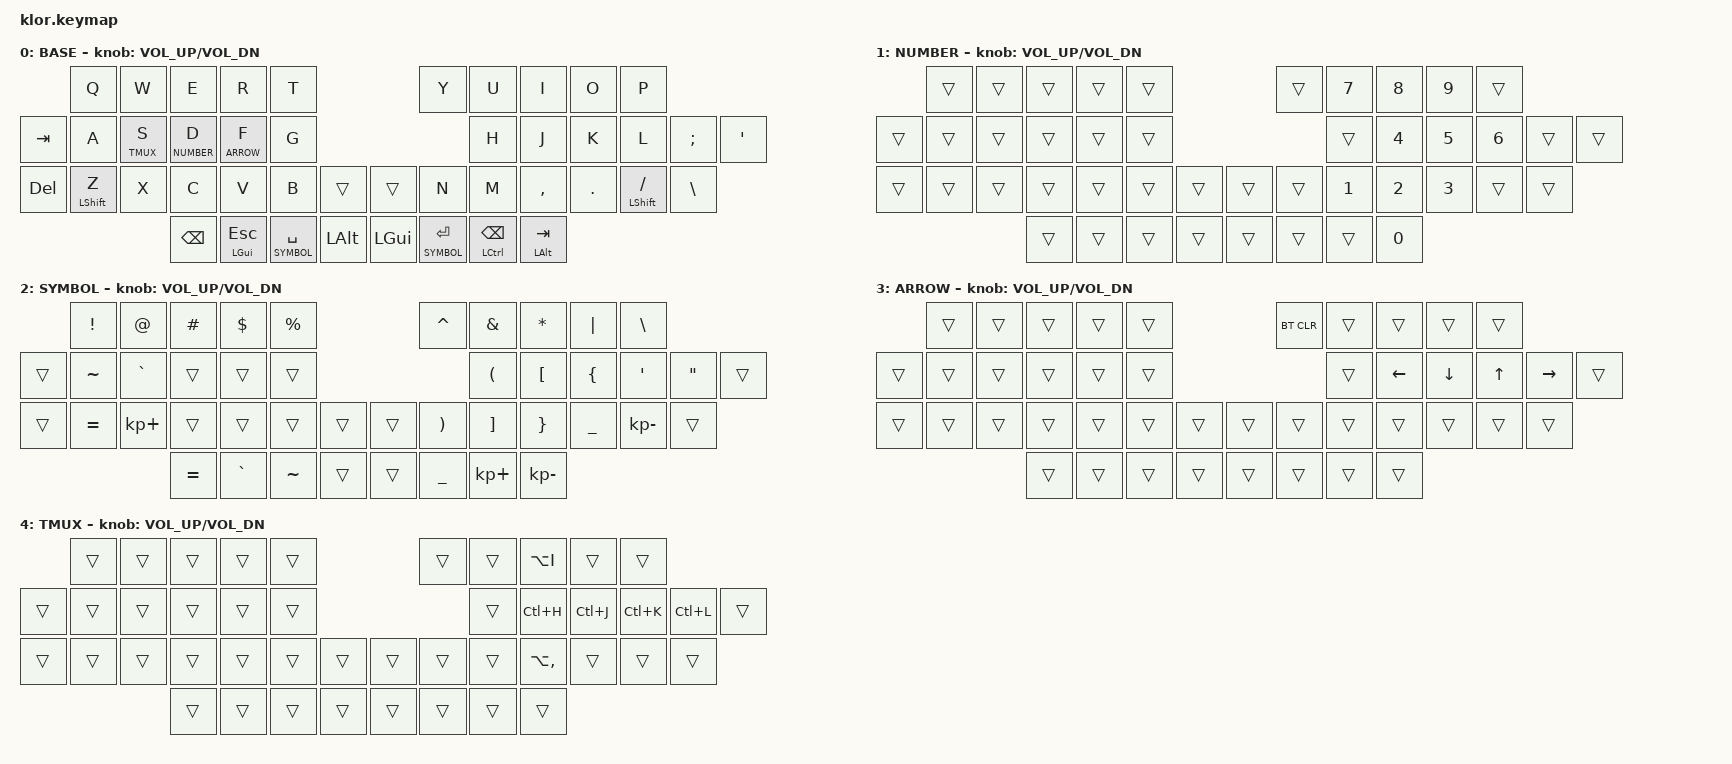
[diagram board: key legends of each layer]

//                               █         █    █            ▄▄▄▀▀▀▀▀▀▄▄▄        █▀▀▀▀▀▀▀▀▀▀█
//                               █        █     █          ▄▀            ▀▄      █          █
//                               █       █      █        ▄▀                ▀▄    █          █
//                               █      █       █        █                  █    █          █
//                               █     █        █       █                    █   █          █
//                               █    █         █       █                    █   █▄▄▄▄▄▄▄▄▄▄█
//                               █   █ █        █       █                    █   █      █
//                               █  █   █       █        █                  █    █       █
//                               █ █     █      █        ▀▄                ▄▀    █        █
//                               ██       █     █          ▀▄            ▄▀      █         █
//                               █         █    █▄▄▄▄▄▄▄▄    ▀▀▀▄▄▄▄▄▄▀▀▀        █          █
//
// ▄▄▄▄▄▄▄▄▄▄▄▄▄▄▄▄▄▄▄▄▄▄▄▄▄▄▄▄▄▄▄▄▄▄▄▄▄▄▄▄▄▄▄▄▄▄▄▄▄▄▄▄▄▄▄▄▄▄▄▄▄▄▄▄▄▄▄▄▄▄▄▄▄▄▄▄▄▄▄▄▄▄▄▄▄▄▄▄▄▄▄▄▄▄▄▄▄▄▄▄▄▄▄▄▄▄▄▄▄▄▄▄▄▄▄▄▄▄▄▄▄▄▄▄▄
       
#include <behaviors.dtsi>
#include <dt-bindings/zmk/keys.h>
#include <dt-bindings/zmk/bt.h>
#include <dt-bindings/zmk/outputs.h>
#include <dt-bindings/zmk/ext_power.h>
#include <dt-bindings/zmk/rgb.h>

#define BASE 0
#define NUMBER 1
#define SYMBOL 2
#define ARROW 3
#define TMUX 4


/ {

    combos {
        compatible = "zmk,combos";
        combo_del {
            timeout-ms = <50>;
            key-positions = <15 16>;
            bindings = <&kp BSPC>;
        };
        combo_tab {
            timeout-ms = <50>;
            key-positions = <16 17>;
            bindings = <&kp TAB>;
        };
        
         combo_alt {
            timeout-ms = <50>;
            key-positions = <25 26>;
            bindings = <&kp LALT>;
        };
        
    };

        keymap {
                compatible = "zmk,keymap";
// ▄▄▄▄▄▄▄▄▄▄▄▄▄▄▄▄▄▄▄▄▄▄▄▄▄▄▄▄▄▄▄▄▄▄▄▄▄▄▄▄▄▄▄▄▄▄▄▄▄▄▄▄▄▄▄▄▄▄▄▄▄▄▄▄▄▄▄▄▄▄▄▄▄▄▄▄▄▄▄▄▄▄▄▄▄▄▄▄▄▄▄▄▄▄▄▄▄▄▄▄▄▄▄▄▄▄▄▄▄▄▄▄▄▄▄▄▄▄▄▄▄▄▄▄▄▄▄▄▄▄▄▄▄▄▄▄▄▄▄▄▄▄


                base_layer {
// ┌───────────────────────────────────────────────────────────┐
label= "BASE"                                                  ;
// └───────────────────────────────────────────────────────────┘
/*           ┌─────────┬─────────┬─────────┬─────────┬─────────┐                    ┌─────────┬─────────┬─────────┬─────────┬─────────┐
             │    Q    │    W    │    F    │    P    │    G    │                    │    J    │    L    │    U    │    Y    │    ;    │   
   ┌─────────┼─────────┼─────────┼─────────┼─────────┼─────────┤                    ├─────────┼─────────┼─────────┼─────────┼─────────┼─────────┐
   │   TAB   │    A    │    R    │    S    │    T    │    D    │                    │    H    │    N    │    E    │    I    │    O    │    "    │
   ├─────────┼─────────┼─────────┼─────────┼─────────┼─────────┤╭────────╮╭────────╮├─────────┼─────────┼─────────┼─────────┼─────────┼─────────┤
   │   DEL   │    Z    │    X    │    C    │    V    │    B    ││  MUTE  ││PLY/PSE ││    K    │    M    │    ,    │    .    │    /    │    \    │
   └─────────┴─────────┴─────────┼─────────┼─────────┼─────────┼╰────────╯╰────────╯┼─────────┼─────────┼─────────┼─────────┴─────────┴─────────┘
                                 │  CTRL   │  LOWER  │  SPACE  │   ALT   ││ CMD/WIN │  ENTER  │  RAISE  │  BSPCE  │  
                                 └─────────┴─────────┴─────────┴─────────┘└─────────┴─────────┴─────────┴─────────┘ */ 
 bindings = <
 //╷         ╷         ╷         ╷         ╷         ╷         ╷         ╷╷         ╷         ╷         ╷         ╷         ╷         ╷         ╷

              &kp Q     &kp W     &kp E     &kp R     &kp T                          &kp Y     &kp U     &kp I     &kp O     &kp P
    &kp TAB   &kp A &lt TMUX S &lt NUMBER D &lt ARROW F &kp G                          &kp H     &kp J   &kp K     &kp L     &kp SEMI &kp SQT
    &kp DEL   &mt LSHIFT Z   &kp X     &kp C     &kp V     &kp B     &trans     &trans    &kp N     &kp M     &kp COMMA    &kp DOT    &mt LSHIFT SLASH  &kp BSLH
                              &kp BSPC &mt LGUI ESC &lt SYMBOL SPACE &kp LALT   &kp LGUI &lt SYMBOL ENTER   &mt LCTRL BSPC &mt LALT TAB    
                        >;
            sensor-bindings = <&inc_dec_kp C_VOL_UP C_VOL_DN>;
                };

// ▄▄▄▄▄▄▄▄▄▄▄▄▄▄▄▄▄▄▄▄▄▄▄▄▄▄▄▄▄▄▄▄▄▄▄▄▄▄▄▄▄▄▄▄▄▄▄▄▄▄▄▄▄▄▄▄▄▄▄▄▄▄▄▄▄▄▄▄▄▄▄▄▄▄▄▄▄▄▄▄▄▄▄▄▄▄▄▄▄▄▄▄▄▄▄▄▄▄▄▄▄▄▄▄▄▄▄▄▄▄▄▄▄▄▄▄▄▄▄▄▄▄▄▄▄▄▄▄▄▄▄▄▄▄▄▄▄▄▄▄▄▄


                number_layer {
// ┌───────────────────────────────────────────────────────────┐
label= "NUMBER"                                                  ;
// └───────────────────────────────────────────────────────────┘
/*           ┌─────────┬─────────┬─────────┬─────────┬─────────┐                    ┌─────────┬─────────┬─────────┬─────────┬─────────┐
             │         │         │    UP   │         │    {    │                    │    }    │    7    │    8    │    9    │    +    │
   ┌─────────┼─────────┼─────────┼─────────┼─────────┼─────────┤                    ├─────────┼─────────┼─────────┼─────────┼─────────┼─────────┐
   │         │         │   LEFT  │  DOWN   │  RIGHT  │    [    │                    │    ]    │    4    │    5    │    6    │    -    │         │
   ├─────────┼─────────┼─────────┼─────────┼─────────┼─────────┤╭────────╮╭────────╮├─────────┼─────────┼─────────┼─────────┼─────────┼─────────┤
   │         │         │   P UP  │ C LOCK  │ P DOWN  │    (    ││        ││        ││    )    │    1    │    2    │    3    │    *    │         │
   └─────────┴─────────┴─────────┼─────────┼─────────┼─────────┼╰────────╯╰────────╯┼─────────┼─────────┼─────────┼─────────┴─────────┴─────────┘
                                 │         │         │         │         ││         │         │    0    │         │  
                                 └─────────┴─────────┴─────────┴─────────┘└─────────┴─────────┴─────────┴─────────┘ */ 
 bindings = <
 //╷         ╷         ╷         ╷         ╷         ╷         ╷         ╷╷         ╷         ╷         ╷         ╷         ╷         ╷         ╷

              &trans    &trans    &trans    &trans    &trans                         &trans    &kp N7 &kp N8 &kp N9    &trans     
    &trans    &trans    &trans    &trans    &trans    &trans                         &trans    &kp N4    &kp N5    &kp N6   &trans    &trans  
    &trans    &trans    &trans    &trans    &trans    &trans    &trans     &trans    &trans    &kp N1 &kp N2 &kp N3    &trans    &trans
                                  &trans    &trans   &trans    &trans     &trans    &trans    &trans    &kp N0 
                        >;
            sensor-bindings = <&inc_dec_kp C_VOL_UP C_VOL_DN>;
                };

// ▄▄▄▄▄▄▄▄▄▄▄▄▄▄▄▄▄▄▄▄▄▄▄▄▄▄▄▄▄▄▄▄▄▄▄▄▄▄▄▄▄▄▄▄▄▄▄▄▄▄▄▄▄▄▄▄▄▄▄▄▄▄▄▄▄▄▄▄▄▄▄▄▄▄▄▄▄▄▄▄▄▄▄▄▄▄▄▄▄▄▄▄▄▄▄▄▄▄▄▄▄▄▄▄▄▄▄▄▄▄▄▄▄▄▄▄▄▄▄▄▄▄▄▄▄


                symbol_layer {
// ┌───────────────────────────────────────────────────────────┐
label= "SYMBOL"                                                  ;
// └───────────────────────────────────────────────────────────┘
/*           ┌─────────┬─────────┬─────────┬─────────┬─────────┐                    ┌─────────┬─────────┬─────────┬─────────┬─────────┐
             │         │         │         │         │         │                    │         │         │    Ü    │         │         │
   ┌─────────┼─────────┼─────────┼─────────┼─────────┼─────────┤                    ├─────────┼─────────┼─────────┼─────────┼─────────┼─────────┐
   │    Ä    │         │    ß    │         │         │         │                    │         │         │         │         │    Ö    │         │
   ├─────────┼─────────┼─────────┼─────────┼─────────┼─────────┤╭────────╮╭────────╮├─────────┼─────────┼─────────┼─────────┼─────────┼─────────┤
   │         │         │         │         │         │         ││        ││        ││         │         │         │         │         │         │
   └─────────┴─────────┴─────────┼─────────┼─────────┼─────────┼╰────────╯╰────────╯┼─────────┼─────────┼─────────┼─────────┴─────────┴─────────┘
                                 │ ADJUST  │         │         │         ││         │         │         │         │  
                                 └─────────┴─────────┴─────────┴─────────┘└─────────┴─────────┴─────────┴─────────┘ */ 
 bindings = <
 //╷         ╷         ╷         ╷         ╷         ╷         ╷         ╷╷         ╷         ╷         ╷         ╷         ╷         ╷         ╷
              &kp EXCL &kp AT    &kp HASH &kp DOLLAR &kp PERCENT                &kp CARET &kp AMPERSAND &kp ASTERISK  &kp PIPE &kp BACKSLASH
    &trans    &kp TILDE    &kp GRAVE    &trans    &trans    &trans                         &kp LPAR    &kp LBKT    &kp LBRC    &kp SQT    &kp DQT   &trans  
    &trans    &kp EQUAL    &kp KP_PLUS    &trans    &trans    &trans    &trans     &trans    &kp RPAR    &kp RBKT    &kp RBRC    &kp UNDER    &kp KP_MINUS    &trans
                                  &kp EQUAL    &kp GRAVE   &kp TILDE    &trans     &trans    &kp UNDER    &kp KP_PLUS    &kp KP_MINUS  
                        >;
                sensor-bindings = <&inc_dec_kp C_VOL_UP C_VOL_DN>;
                };

// ▄▄▄▄▄▄▄▄▄▄▄▄▄▄▄▄▄▄▄▄▄▄▄▄▄▄▄▄▄▄▄▄▄▄▄▄▄▄▄▄▄▄▄▄▄▄▄▄▄▄▄▄▄▄▄▄▄▄▄▄▄▄▄▄▄▄▄▄▄▄▄▄▄▄▄▄▄▄▄▄▄▄▄▄▄▄▄▄▄▄▄▄▄▄▄▄▄▄▄▄▄▄▄▄▄▄▄▄▄▄▄▄▄▄▄▄▄▄▄▄▄▄▄▄▄


                arrow_layer {
// ┌───────────────────────────────────────────────────────────┐
label= "ARROW"                                                ;
// └───────────────────────────────────────────────────────────┘
/*           ┌─────────┬─────────┬─────────┬─────────┬─────────┐                    ┌─────────┬─────────┬─────────┬─────────┬─────────┐
             │         │         │         │         │         │                    │         │         │         │         │         │
   ┌─────────┼─────────┼─────────┼─────────┼─────────┼─────────┤                    ├─────────┼─────────┼─────────┼─────────┼─────────┼─────────┐
   │         │         │         │         │         │         │                    │         │         │         │         │         │         │
   ├─────────┼─────────┼─────────┼─────────┼─────────┼─────────┤╭────────╮╭────────╮├─────────┼─────────┼─────────┼─────────┼─────────┼─────────┤
   │         │         │         │         │         │         ││        ││        ││         │         │         │         │         │         │
   └─────────┴─────────┴─────────┼─────────┼─────────┼─────────┼╰────────╯╰────────╯┼─────────┼─────────┼─────────┼─────────┴─────────┴─────────┘
                                 │         │         │         │         ││         │         │         │         │  
                                 └─────────┴─────────┴─────────┴─────────┘└─────────┴─────────┴─────────┴─────────┘ */ 
 bindings = <
 //╷         ╷         ╷         ╷         ╷         ╷         ╷         ╷╷         ╷         ╷         ╷         ╷         ╷         ╷         ╷

              &trans    &trans    &trans    &trans    &trans                         &bt BT_CLR    &trans    &trans    &trans    &trans     
    &trans    &trans    &trans    &trans    &trans    &trans                         &trans    &kp LEFT  &kp DOWN    &kp UP  &kp RIGHT  &trans  
    &trans    &trans    &trans    &trans    &trans    &trans    &trans     &trans    &trans    &trans    &trans    &trans    &trans    &trans
                                  &trans    &trans   &trans    &trans     &trans    &trans    &trans    &trans  
                        >;
            sensor-bindings = <&inc_dec_kp C_VOL_UP C_VOL_DN>;
                };

                tmux_layer {
label= "TMUX"                                                ;
 bindings = <
              &trans    &trans    &trans    &trans    &trans                         &trans    &trans    &kp LA(I)    &trans    &trans     
    &trans    &trans    &trans    &trans    &trans    &trans                         &trans    &kp LC(H) &kp LC(J)    &kp LC(K)    &kp LC(L)    &trans  
    &trans    &trans    &trans    &trans    &trans    &trans    &trans     &trans    &trans    &trans    &kp LA(COMMA)    &trans    &trans    &trans
                                  &trans    &trans   &trans    &trans     &trans    &trans    &trans    &trans  
                        >;
            sensor-bindings = <&inc_dec_kp C_VOL_UP C_VOL_DN>;
                };
        };
};
